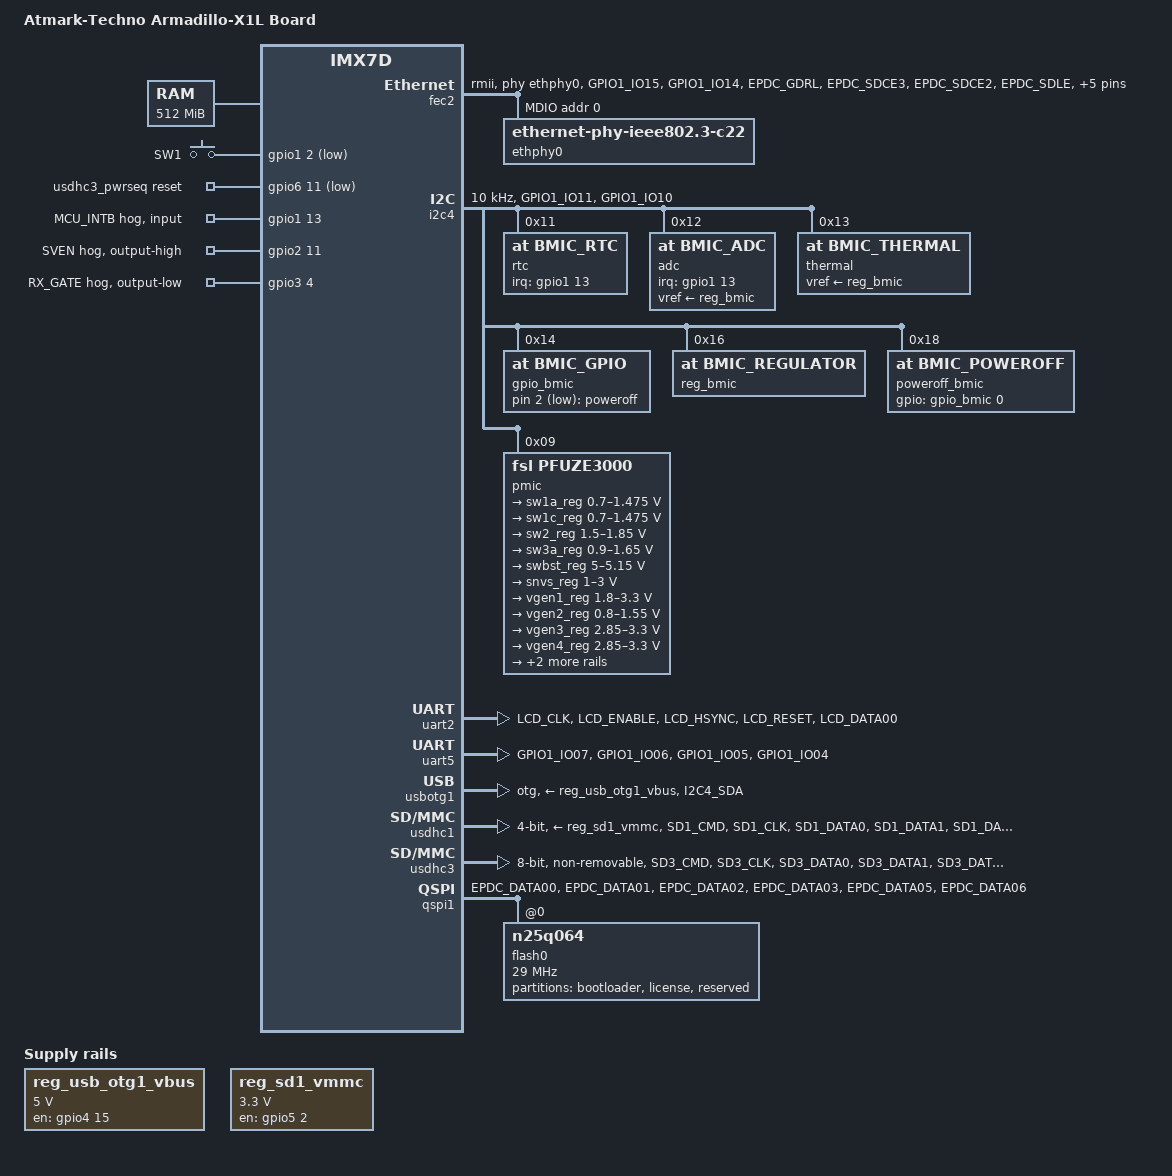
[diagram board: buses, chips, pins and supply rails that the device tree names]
/*
 * Copyright (C) 2018 Atmark Techno, Inc. All Rights Reserved.
 *
 * This file is dual-licensed: you can use it either under the terms
 * of the GPL or the X11 license, at your option. Note that this dual
 * licensing only applies to this file, and not this project as a
 * whole.
 *
 *  a) This file is free software; you can redistribute it and/or
 *     modify it under the terms of the GNU General Public License as
 *     published by the Free Software Foundation; either version 2 of the
 *     License, or (at your option) any later version.
 *
 *     This file is distributed in the hope that it will be useful,
 *     but WITHOUT ANY WARRANTY; without even the implied warranty of
 *     MERCHANTABILITY or FITNESS FOR A PARTICULAR PURPOSE.  See the
 *     GNU General Public License for more details.
 *
 * Or, alternatively,
 *
 *  b) Permission is hereby granted, free of charge, to any person
 *     obtaining a copy of this software and associated documentation
 *     files (the "Software"), to deal in the Software without
 *     restriction, including without limitation the rights to use,
 *     copy, modify, merge, publish, distribute, sublicense, and/or
 *     sell copies of the Software, and to permit persons to whom the
 *     Software is furnished to do so, subject to the following
 *     conditions:
 *
 *     The above copyright notice and this permission notice shall be
 *     included in all copies or substantial portions of the Software.
 *
 *     THE SOFTWARE IS PROVIDED "AS IS", WITHOUT WARRANTY OF ANY KIND,
 *     EXPRESS OR IMPLIED, INCLUDING BUT NOT LIMITED TO THE WARRANTIES
 *     OF MERCHANTABILITY, FITNESS FOR A PARTICULAR PURPOSE AND
 *     NONINFRINGEMENT. IN NO EVENT SHALL THE AUTHORS OR COPYRIGHT
 *     HOLDERS BE LIABLE FOR ANY CLAIM, DAMAGES OR OTHER LIABILITY,
 *     WHETHER IN AN ACTION OF CONTRACT, TORT OR OTHERWISE, ARISING
 *     FROM, OUT OF OR IN CONNECTION WITH THE SOFTWARE OR THE USE OR
 *     OTHER DEALINGS IN THE SOFTWARE.
 */

/dts-v1/;

#include "imx7d.dtsi"

/ {
	model = "Atmark-Techno Armadillo-X1L Board";
	compatible = "at,armadillo-x1l", "fsl,imx7d";

	aliases {
		rtc0 = &snvs_rtc;
		rtc1 = &rtc;
	};

	memory {
		reg = <0x80000000 0x20000000>;
	};

	regulators: regulators0 {
		compatible = "simple-bus";
		#address-cells = <1>;
		#size-cells = <0>;

		reg_usb_otg1_vbus: regulator@0 {
			compatible = "regulator-fixed";
			reg = <0>;
			regulator-name = "USB_OTG1_VBUS";
			regulator-min-microvolt = <5000000>;
			regulator-max-microvolt = <5000000>;
			gpio = <&gpio4 15 GPIO_ACTIVE_HIGH>;
			enable-active-high;
		};

		reg_sd1_vmmc: regulator-1 {
			compatible = "regulator-fixed";
			regulator-name = "VDD_SD1";
			regulator-min-microvolt = <3300000>;
			regulator-max-microvolt = <3300000>;
			gpio = <&gpio5 2 GPIO_ACTIVE_HIGH>;
			enable-active-high;
			regulator-boot-on;
		};
	};

	gpio-keys {
		compatible = "gpio-keys";
		pinctrl-names = "default";
		pinctrl-0 = <&pinctrl_lpsr_gpio_keys>;

		sw1 {
			label = "SW1";
			gpios = <&gpio1 2 GPIO_ACTIVE_LOW>;
			linux,code = <KEY_POWER2>;
		};
	};

	usdhc3_pwrseq: pwrseq@0 {
		compatible = "mmc-pwrseq-emmc";
		pinctrl-names = "default";
		pinctrl-0 = <&pinctrl_usdhc3_pwrseq>;
		reset-gpios = <&gpio6 11 GPIO_ACTIVE_LOW>;
	};

	/*
	 * Overridden by poweroff_bmic if BMIC version 3.2 or
	 * later
	 */
	poweroff {
		compatible = "gpio-poweroff";
		gpios = <&gpio_bmic 2 GPIO_ACTIVE_LOW>;
	};
};

&cpu0 {
	arm-supply = <&sw1a_reg>;
};

&fec2 {
	pinctrl-names = "default";
	pinctrl-0 = <&pinctrl_enet2>;
	clocks = <&clks IMX7D_ENET_AXI_ROOT_CLK>,
		 <&clks IMX7D_ENET_AXI_ROOT_CLK>,
		 <&clks IMX7D_ENET2_TIME_ROOT_CLK>,
		 <&clks IMX7D_PLL_ENET_MAIN_50M_CLK>,
		 <&clks IMX7D_ENET_PHY_REF_ROOT_CLK>;
	clock-names = "ipg", "ahb", "ptp",
		      "enet_clk_ref", "enet_out";
	assigned-clocks = <&clks IMX7D_ENET2_TIME_ROOT_SRC>,
			  <&clks IMX7D_ENET2_TIME_ROOT_CLK>,
			  <&clks IMX7D_ENET_AXI_ROOT_SRC>,
			  <&clks IMX7D_ENET_AXI_ROOT_CLK>,
			  <&clks IMX7D_ENET_PHY_REF_ROOT_SRC>;
	assigned-clock-parents = <&clks IMX7D_PLL_ENET_MAIN_100M_CLK>,
			         <&clks IMX7D_ENET2_TIME_ROOT_DIV>,
			         <&clks IMX7D_PLL_SYS_PFD4_CLK>,
				 <&clks IMX7D_ENET_AXI_ROOT_DIV>,
				 <&clks IMX7D_PLL_ENET_MAIN_50M_CLK>;
	assigned-clock-rates = <0>, <50000000>, <0>, <50000000>, <0>;
	phy-mode = "rmii";
	phy-handle = <&ethphy0>;
	fsl,magic-packet;
	no-mac-init;
	status = "okay";

	mdio {
		#address-cells = <1>;
		#size-cells = <0>;

		ethphy0: ethernet-phy@0 {
			compatible = "ethernet-phy-ieee802.3-c22";
			reg = <0>;
			max-speed = <100>;
		};
	};
};

&i2c4 {
	clock-frequency = <10000>;
	pinctrl-names = "default";
	pinctrl-0 = <&pinctrl_i2c4>;
	status = "okay";

	rtc: bmic_rtc@11 {
		compatible = "at,bmic_rtc";
		reg = <0x11>;
		irq-gpio = <&gpio1 13 GPIO_ACTIVE_HIGH>;
	};

	adc: bmic_adc@12 {
		compatible = "at,bmic_adc";
		reg = <0x12>;
		vref-supply = <&reg_bmic>;
		irq-gpio = <&gpio1 13 GPIO_ACTIVE_HIGH>;
	};

	thermal: bmic_thermal@13 {
		compatible = "at,bmic_thermal";
		reg = <0x13>;
		vref-supply = <&reg_bmic>;
	};

	gpio_bmic: bmic_gpio@14 {
		compatible = "at,bmic_gpio";
		reg = <0x14>;
		gpio-controller;
		#gpio-cells = <2>;
	};

	reg_bmic: bmic_regulator@16 {
		compatible = "at,bmic_regulator";
		reg = <0x16>;
		regulator-name = "BMIC_VREF";
		regulator-min-microvolt = <1710000>;
		regulator-max-microvolt = <3600000>;
		regulator-boot-on;
		regulator-always-on;
	};

	poweroff_bmic: bmic_poweroff@18 {
		compatible = "at,bmic_poweroff";
		reg = <0x18>;
		gpios = <&gpio_bmic 0 GPIO_ACTIVE_HIGH>;
		turn-on-delay = <0>; /* a value of 0 means "do not turn on" */
		restart-delay = <1>; /* specify a value greater than 1 second */
	};

	pmic: pfuze3000@09 {
		compatible = "fsl,pfuze3000";
		reg = <0x09>;

		regulators {
			sw1a_reg: sw1a {
				regulator-min-microvolt = <700000>;
				regulator-max-microvolt = <1475000>;
				regulator-boot-on;
				regulator-always-on;
				regulator-ramp-delay = <6250>;
			};

			/* use sw1c_reg to align with pfuze100/pfuze200 */
			sw1c_reg: sw1b {
				regulator-min-microvolt = <700000>;
				regulator-max-microvolt = <1475000>;
				regulator-boot-on;
				regulator-always-on;
				regulator-ramp-delay = <6250>;
			};

			sw2_reg: sw2 {
				regulator-min-microvolt = <1500000>;
				regulator-max-microvolt = <1850000>;
				regulator-boot-on;
				regulator-always-on;
			};

			sw3a_reg: sw3 {
				regulator-min-microvolt = <900000>;
				regulator-max-microvolt = <1650000>;
				regulator-boot-on;
				regulator-always-on;
			};

			swbst_reg: swbst {
				regulator-min-microvolt = <5000000>;
				regulator-max-microvolt = <5150000>;
			};

			snvs_reg: vsnvs {
				regulator-min-microvolt = <1000000>;
				regulator-max-microvolt = <3000000>;
				regulator-boot-on;
				regulator-always-on;
			};

			vref_reg: vrefddr {
				regulator-boot-on;
				regulator-always-on;
			};

			vgen1_reg: vldo1 {
				regulator-min-microvolt = <1800000>;
				regulator-max-microvolt = <3300000>;
				regulator-always-on;
			};

			vgen2_reg: vldo2 {
				regulator-min-microvolt = <800000>;
				regulator-max-microvolt = <1550000>;
			};

			vgen3_reg: vccsd {
				regulator-min-microvolt = <2850000>;
				regulator-max-microvolt = <3300000>;
				regulator-always-on;
			};

			vgen4_reg: v33 {
				regulator-min-microvolt = <2850000>;
				regulator-max-microvolt = <3300000>;
				regulator-always-on;
			};

			vgen5_reg: vldo3 {
				regulator-min-microvolt = <1800000>;
				regulator-max-microvolt = <3300000>;
				regulator-always-on;
			};

			vgen6_reg: vldo4 {
				regulator-min-microvolt = <1800000>;
				regulator-max-microvolt = <3300000>;
				regulator-always-on;
			};
		};
	};
};

&iomuxc {
	pinctrl-names = "default";
	pinctrl-0 = <&pinctrl_hog>;

	armadillo-x1l {
		pinctrl_hog: hoggrp {
			fsl,pins = <
				/* USDHC1 */
				MX7D_PAD_GPIO1_IO08__SD1_VSELECT	0x59 /* VSELECT */

				/* MCU */
				MX7D_PAD_GPIO1_IO13__GPIO1_IO13		0x40000000 /* MCU_INTB */
			>;
		};

		pinctrl_enet2: enet2grp {
			fsl,pins = <
				MX7D_PAD_GPIO1_IO15__ENET2_MDC		0x72
				MX7D_PAD_GPIO1_IO14__ENET2_MDIO		0x3a

				MX7D_PAD_EPDC_GDRL__ENET2_RGMII_TX_CTL		0x0
				MX7D_PAD_EPDC_SDCE3__ENET2_RGMII_TD1		0x0
				MX7D_PAD_EPDC_SDCE2__ENET2_RGMII_TD0		0x0

				MX7D_PAD_EPDC_SDLE__ENET2_RGMII_RD1		0x1
				MX7D_PAD_EPDC_SDCLK__ENET2_RGMII_RD0		0x1
				MX7D_PAD_EPDC_SDCE1__ENET2_RX_ER		0x1

				MX7D_PAD_EPDC_SDCE0__ENET2_RGMII_RX_CTL		0x1
				MX7D_PAD_EPDC_BDR0__CCM_ENET_REF_CLK2		0x1

				MX7D_PAD_EPDC_BDR1__GPIO2_IO29 0x00 /* GPIO_LAN1_RST_N */
			>;
		};

		pinctrl_usbotg1: usbotg1grp {
			fsl,pins = <
				MX7D_PAD_I2C4_SDA__GPIO4_IO15 0x00
			>;
		};

		pinctrl_usdhc1: usdhc1grp {
			fsl,pins = <
				MX7D_PAD_SD1_CMD__SD1_CMD	0x0a
				MX7D_PAD_SD1_CLK__SD1_CLK	0x0a
				MX7D_PAD_SD1_DATA0__SD1_DATA0	0x0a
				MX7D_PAD_SD1_DATA1__SD1_DATA1	0x0a
				MX7D_PAD_SD1_DATA2__SD1_DATA2	0x0a
				MX7D_PAD_SD1_DATA3__SD1_DATA3	0x0a
				MX7D_PAD_SD1_CD_B__GPIO5_IO0	0x00
				MX7D_PAD_SD1_WP__GPIO5_IO1	0x00
				MX7D_PAD_SD1_RESET_B__GPIO5_IO2	0x00
			>;
		};

		pinctrl_usdhc1_100mhz: usdhc1grp_100mhz {
			fsl,pins = <
				MX7D_PAD_SD1_CMD__SD1_CMD	0x09
				MX7D_PAD_SD1_CLK__SD1_CLK	0x09
				MX7D_PAD_SD1_DATA0__SD1_DATA0	0x09
				MX7D_PAD_SD1_DATA1__SD1_DATA1	0x09
				MX7D_PAD_SD1_DATA2__SD1_DATA2	0x09
				MX7D_PAD_SD1_DATA3__SD1_DATA3	0x09
			>;
		};

		pinctrl_usdhc1_200mhz: usdhc1grp_200mhz {
			fsl,pins = <
				MX7D_PAD_SD1_CMD__SD1_CMD	0x0b
				MX7D_PAD_SD1_CLK__SD1_CLK	0x09
				MX7D_PAD_SD1_DATA0__SD1_DATA0	0x0b
				MX7D_PAD_SD1_DATA1__SD1_DATA1	0x0b
				MX7D_PAD_SD1_DATA2__SD1_DATA2	0x0b
				MX7D_PAD_SD1_DATA3__SD1_DATA3	0x0b
			>;
		};

		pinctrl_usdhc1_power_off: usdhc1grp_power_off {
			fsl,pins = <
				MX7D_PAD_SD1_CMD__GPIO5_IO4	0x00
				MX7D_PAD_SD1_DATA0__GPIO5_IO5	0x00
				MX7D_PAD_SD1_DATA1__GPIO5_IO6	0x00
				MX7D_PAD_SD1_DATA2__GPIO5_IO7	0x00
				MX7D_PAD_SD1_DATA3__GPIO5_IO8	0x00
			>;
		};

		pinctrl_usdhc3: usdhc3grp {
			fsl,pins = <
				MX7D_PAD_SD3_CMD__SD3_CMD	0x0a
				MX7D_PAD_SD3_CLK__SD3_CLK	0x0a
				MX7D_PAD_SD3_DATA0__SD3_DATA0	0x0a
				MX7D_PAD_SD3_DATA1__SD3_DATA1	0x0a
				MX7D_PAD_SD3_DATA2__SD3_DATA2	0x0a
				MX7D_PAD_SD3_DATA3__SD3_DATA3	0x0a
				MX7D_PAD_SD3_DATA4__SD3_DATA4	0x0a
				MX7D_PAD_SD3_DATA5__SD3_DATA5	0x0a
				MX7D_PAD_SD3_DATA6__SD3_DATA6	0x0a
				MX7D_PAD_SD3_DATA7__SD3_DATA7	0x0a
				MX7D_PAD_SD3_STROBE__SD3_STROBE	0x0a
			>;
		};

		pinctrl_usdhc3_pwrseq: pwrseq-usdhc3grp {
			fsl,pins = <
				MX7D_PAD_SD3_RESET_B__GPIO6_IO11	0x4000000a
			>;
		};

		pinctrl_qspi1: qspi1grp {
			fsl,pins = <
				MX7D_PAD_EPDC_DATA00__QSPI_A_DATA0	0x51
				MX7D_PAD_EPDC_DATA01__QSPI_A_DATA1	0x51
				MX7D_PAD_EPDC_DATA02__QSPI_A_DATA2	0x51
				MX7D_PAD_EPDC_DATA03__QSPI_A_DATA3	0x51
				MX7D_PAD_EPDC_DATA05__QSPI_A_SCLK	0x51
				MX7D_PAD_EPDC_DATA06__QSPI_A_SS0_B	0x51
			>;
		};

		pinctrl_i2c4: i2c4grp {
			fsl,pins = <
				MX7D_PAD_GPIO1_IO11__I2C4_SDA	0x4000007f
				MX7D_PAD_GPIO1_IO10__I2C4_SCL	0x4000007f
			>;
		};

		pinctrl_uart2_1: uart2grp-1 {
			fsl,pins = <
				MX7D_PAD_LCD_CLK__UART2_DCE_RX		0x70
				MX7D_PAD_LCD_ENABLE__UART2_DCE_TX	0x00
				MX7D_PAD_LCD_HSYNC__GPIO3_IO2		0x00
				MX7D_PAD_LCD_RESET__GPIO3_IO4		0x00
				MX7D_PAD_LCD_DATA00__GPIO3_IO5		0x00
			>;
		};
	};
};

&iomuxc_lpsr {
	pinctrl-names = "default";
	pinctrl-0 = <&pinctrl_hog_2>;

	armadillo-x1l {
		pinctrl_hog_2: hoggrp-2 {
			fsl,pins = <
				MX7D_PAD_GPIO1_IO00__WDOD1_WDOG_B	0x74
			>;
		};

		pinctrl_lpsr_uart5: lpsr_uart5grp {
			fsl,pins = <
				MX7D_PAD_GPIO1_IO07__UART5_DCE_TX	0x00
				MX7D_PAD_GPIO1_IO06__UART5_DCE_RX	0x70
				MX7D_PAD_GPIO1_IO05__UART5_DCE_RTS	0x10
				MX7D_PAD_GPIO1_IO04__UART5_DCE_CTS	0x00
			>;
		};

		pinctrl_lpsr_gpio_keys: lpsr_gpio_keysgrp {
			fsl,pins = <
				MX7D_PAD_GPIO1_IO02__GPIO1_IO2	0x00 /* SW1 */
			>;
		};
	};
};

&uart2 {
	pinctrl-names = "default";
	pinctrl-0 = <&pinctrl_uart2_1>;
	assigned-clocks = <&clks IMX7D_UART2_ROOT_SRC>, <&clks IMX7D_UART2_ROOT_DIV>;
	assigned-clock-parents = <&clks IMX7D_PLL_SYS_MAIN_240M_CLK>;
	assigned-clock-rates = <0>, <80000000>;
	rs485-rts-active-high;
	rs485-enabled-at-boot-time;
	rts-gpio = <&gpio3 2 0>;
	fsl,rs485-duplex-type = "gpio";
	fsl,rs485-duplex-gpio = <&gpio3 5 GPIO_ACTIVE_HIGH>;
	fsl,rs485-duplex-active-low;
	fsl,uart-has-rtscts;
	status = "okay";
};

&uart5 {
	pinctrl-names = "default";
	pinctrl-0 = <&pinctrl_lpsr_uart5>;
	assigned-clocks = <&clks IMX7D_UART5_ROOT_SRC>;
	assigned-clock-parents = <&clks IMX7D_PLL_SYS_MAIN_240M_CLK>;
	status = "okay";
};

&usbotg1 {
	pinctrl-names = "default";
	pinctrl-0 = <&pinctrl_usbotg1>;
	vbus-supply = <&reg_usb_otg1_vbus>;
	disable-over-current;
	dr_mode = "otg";
	status = "okay";
};

&usdhc1 {
	pinctrl-names = "default", "state_100mhz", "state_200mhz",
			"state_power_off";
	pinctrl-0 = <&pinctrl_usdhc1>;
	pinctrl-1 = <&pinctrl_usdhc1_100mhz>;
	pinctrl-2 = <&pinctrl_usdhc1_200mhz>;
	pinctrl-3 = <&pinctrl_usdhc1_power_off>;
	cd-gpios = <&gpio5 0 GPIO_ACTIVE_LOW>;
	wp-gpios = <&gpio5 1 GPIO_ACTIVE_HIGH>;
	pinctrl-assert-gpios = <&gpio5 4 GPIO_ACTIVE_LOW>,	/* SD1_CMD */
			       <&gpio5 5 GPIO_ACTIVE_LOW>,	/* SD1_DATA0 */
			       <&gpio5 6 GPIO_ACTIVE_LOW>,	/* SD1_DATA1 */
			       <&gpio5 7 GPIO_ACTIVE_LOW>,	/* SD1_DATA2 */
			       <&gpio5 8 GPIO_ACTIVE_LOW>;	/* SD1_DATA3 */
	tuning-step = <2>;
	vmmc-supply = <&reg_sd1_vmmc>;
	enable-sdio-wakeup;
	bus-width = <4>;
	keep-power-in-suspend;
	support-clk-limit;
	fsl,no-ddr50-support;
	status = "okay";
};

&usdhc3 {
	pinctrl-names = "default";
	pinctrl-0 = <&pinctrl_usdhc3>;
	assigned-clocks = <&clks IMX7D_USDHC3_ROOT_CLK>;
	assigned-clock-rates = <400000000>;
	bus-width = <8>;
	fsl,tuning-step = <2>;
	non-removable;
	mmc-pwrseq = <&usdhc3_pwrseq>;
	status = "okay";
};

&qspi1 {
	pinctrl-names = "default";
	pinctrl-0 = <&pinctrl_qspi1>;
	status = "okay";
	ddrsmp=<0>;

	flash0: n25q064@0 {
		#address-cells = <1>;
		#size-cells = <1>;
		compatible = "n25q064";
		spi-max-frequency = <29000000>;

		partition@0 {
			label = "bootloader";
			reg = <0x00000000 0x00100000>;
		};
		partition@1 {
			label = "license";
			reg = <0x00100000 0x00040000>;
		};
		partition@2 {
			label = "reserved";
			reg = <0x00140000 0x006c0000>;
		};
	};
};

&wdog1 {
	timeout-sec = <10>;
	fsl,ext-reset-output;
};

&gpio1 {
	mcu_intb {
		gpio-hog;
		gpios = <13 GPIO_ACTIVE_HIGH>;
		input;
		line-name = "MCU_INTB";
	};
};

&gpio2 {
	sven {
		gpio-hog;
		gpios = <11 GPIO_ACTIVE_HIGH>;
		output-high;
		line-name = "SVEN";
	};
};

&gpio3 {
	rx_gate {
		gpio-hog;
		gpios = <4 GPIO_ACTIVE_HIGH>;
		output-low;
		line-name = "RX_GATE";
	};
};
